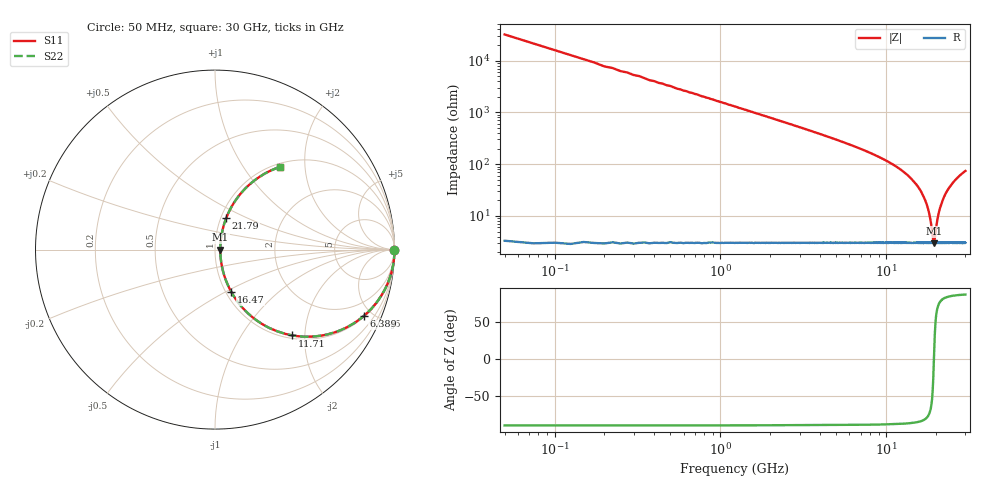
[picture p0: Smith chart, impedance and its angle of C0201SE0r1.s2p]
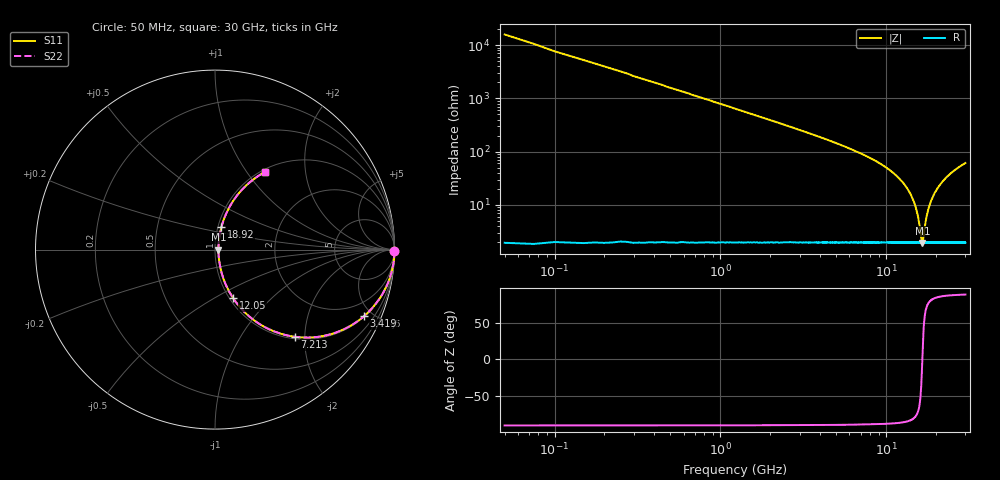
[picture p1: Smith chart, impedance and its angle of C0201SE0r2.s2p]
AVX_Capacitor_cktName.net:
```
define AVX_C1005(Pin1 Pin2 )
parameters PartNumber=0
#uselib "ckt" , "DataFileList"
DataFileList:DataFileList1 _List=list( \ 
"C1005SE0r1.s2p", \
"C1005SE0r2.s2p", \
"C1005SE0r3.s2p", \
"C1005SE0r4.s2p", \
"C1005SE0r5.s2p", \
"C1005SE0r6.s2p", \
"C1005SE0r7.s2p", \
"C1005SE0r8.s2p", \
"C1005SE0r9.s2p", \
"C1005SE1r0.s2p", \
"C1005SE1r2.s2p", \
"C1005SE1r5.s2p", \
"C1005SE1r8.s2p", \
"C1005SE2r1.s2p", \
"C1005SE2r2.s2p", \
"C1005SE2r4.s2p") Index=PartNumber+1
#uselib "ckt" , "S2P"
S2P:SNP1  Pin1 Pin2 0 File=DataFileList1.FileName Type="touchstone" InterpMode="linear" InterpDom="" ExtrapMode="constant" Temp=27.0 CheckPassivity=0 
end AVX_C1005

define AVX_C0201(Pin1 Pin2 )
parameters PartNumber=0
#uselib "ckt" , "DataFileList"
DataFileList:DataFileList1 _List=list( \ 
"C0201SEr05.s2p", \
"C0201SE0r1.s2p", \
"C0201SEr15.s2p", \
"C0201SE0r2.s2p", \
"C0201SEr25.s2p", \
"C0201SE0r3.s2p", \
"C0201SEr35.s2p", \
"C0201SE0r4.s2p", \
"C0201SEr45.s2p", \
"C0201SE0r5.s2p", \
"C0201SEr55.s2p", \
"C0201SE0r6.s2p", \
"C0201SEr65.s2p", \
"C0201SE0r7.s2p", \
"C0201SEr75.s2p", \
"C0201SE0r8.s2p", \
"C0201SEr85.s2p", \
"C0201SE0r9.s2p", \
"C0201SEr95.s2p", \
"C0201SE1r0.s2p", \
"C0201SEA05.s2p", \
"C0201SE1r1.s2p", \
"C0201SEA15.s2p", \
"C0201SE1r2.s2p", \
"C0201SEA25.s2p", \
"C0201SE1r3.s2p", \
"C0201SEA35.s2p", \
"C0201SE1r4.s2p", \
"C0201SEA45.s2p", \
"C0201SE1r5.s2p", \
"C0201SEA55.s2p", \
"C0201SE1r6.s2p", \
"C0201SEA65.s2p", \
"C0201SE1r7.s2p", \
"C0201SEA75.s2p", \
"C0201SE1r8.s2p", \
"C0201SEA85.s2p", \
"C0201SE1r9.s2p", \
"C0201SEA95.s2p", \
"C0201SE2r0.s2p", \
"C0201SE2r1.s2p", \
"C0201SE2r2.s2p", \
"C0201SE2r3.s2p", \
"C0201SE2r4.s2p", \
"C0201SE2r5.s2p", \
"C0201SE2r6.s2p", \
"C0201SE2r7.s2p", \
"C0201SE2r8.s2p", \
"C0201SE2r9.s2p", \
"C0201SE3r0.s2p", \
"C0201SE3r1.s2p", \
"C0201SE3r2.s2p", \
"C0201SE3r3.s2p", \
"C0201SE3r4.s2p", \
"C0201SE3r5.s2p", \
"C0201SE3r6.s2p", \
"C0201SE3r7.s2p", \
"C0201SE3r8.s2p", \
"C0201SE3r9.s2p", \
"C0201SE4r0.s2p", \
"C0201SE4r1.s2p", \
"C0201SE4r2.s2p", \
"C0201SE4r3.s2p", \
"C0201SE4r4.s2p", \
"C0201SE4r5.s2p", \
"C0201SE4r6.s2p", \
"C0201SE4r7.s2p", \
"C0201SE5r0.s2p", \
"C0201SE5r1.s2p", \
"C0201SE5r6.s2p", \
"C0201SE6r2.s2p", \
"C0201SE6r8.s2p", \
"C0201SE7r5.s2p", \
"C0201SE8r2.s2p", \
"C0201SE9r1.s2p", \
"C0201SE100.s2p", \
"C0201SE110.s2p", \
"C0201SE120.s2p", \
"C0201SE130.s2p", \
"C0201SE140.s2p", \
"C0201SE150.s2p", \
"C0201SE160.s2p", \
"C0201SE170.s2p", \
"C0201SE180.s2p", \
"C0201SE190.s2p", \
"C0201SE200.s2p", \
"C0201SE210.s2p", \
"C0201SE220.s2p") Index=PartNumber+1
#uselib "ckt" , "S2P"
S2P:SNP1  Pin1 Pin2 0 File=DataFileList1.FileName Type="touchstone" InterpMode="linear" InterpDom="" ExtrapMode="constant" Temp=27.0 CheckPassivity=0 
end AVX_C0201

define AVX_C0402(Pin1 Pin2 )
parameters PartNumber=1
#uselib "ckt" , "DataFileList"
DataFileList:DataFileList1 _List=list( \ 
"C0402SEr05.s2p", \
"C0402SE0r1.s2p", \
"C0402SEr15.s2p", \
"C0402SE0r2.s2p", \
"C0402SEr25.s2p", \
"C0402SE0r3.s2p", \
"C0402SEr35.s2p", \
"C0402SE0r4.s2p", \
"C0402SEr45.s2p", \
"C0402SE0r5.s2p", \
"C0402SEr55.s2p", \
"C0402SE0r6.s2p", \
"C0402SEr65.s2p", \
"C0402SE0r7.s2p", \
"C0402SEr75.s2p", \
"C0402SE0r8.s2p", \
"C0402SEr85.s2p", \
"C0402SE0r9.s2p", \
"C0402SEr95.s2p", \
"C0402SE1r0.s2p", \
"C0402SEA05.s2p", \
"C0402SE1r1.s2p", \
"C0402SEA15.s2p", \
"C0402SE1r2.s2p", \
"C0402SEA25.s2p", \
"C0402SE1r3.s2p", \
"C0402SEA35.s2p", \
"C0402SE1r4.s2p", \
"C0402SEA45.s2p", \
"C0402SE1r5.s2p", \
"C0402SEA55.s2p", \
"C0402SE1r6.s2p", \
"C0402SEA65.s2p", \
"C0402SE1r7.s2p", \
"C0402SEA75.s2p", \
"C0402SE1r8.s2p", \
"C0402SEA85.s2p", \
"C0402SE1r9.s2p", \
"C0402SEA95.s2p", \
"C0402SE2r0.s2p", \
"C0402SE2r1.s2p", \
"C0402SE2r2.s2p", \
"C0402SE2r3.s2p", \
"C0402SE2r4.s2p", \
"C0402SE2r5.s2p", \
"C0402SE2r6.s2p", \
"C0402SE2r7.s2p", \
"C0402SE2r8.s2p", \
"C0402SE2r9.s2p", \
"C0402SE3r0.s2p", \
"C0402SE3r1.s2p", \
"C0402SE3r2.s2p", \
"C0402SE3r3.s2p", \
"C0402SE3r4.s2p", \
"C0402SE3r5.s2p", \
"C0402SE3r6.s2p", \
"C0402SE3r7.s2p", \
"C0402SE3r8.s2p", \
"C0402SE3r9.s2p", \
"C0402SE4r0.s2p", \
"C0402SE4r1.s2p", \
"C0402SE4r2.s2p", \
"C0402SE4r3.s2p", \
"C0402SE4r4.s2p", \
"C0402SE4r5.s2p", \
"C0402SE4r6.s2p", \
"C0402SE4r7.s2p", \
"C0402SE5r1.s2p", \
"C0402SE5r6.s2p", \
"C0402SE6r2.s2p", \
"C0402SE6r8.s2p", \
"C0402SE7r5.s2p", \
"C0402SE8r2.s2p", \
"C0402SE9r1.s2p", \
"C0402SE100.s2p", \
"C0402SE110.s2p", \
"C0402SE120.s2p", \
"C0402SE130.s2p", \
"C0402SE140.s2p", \
"C0402SE150.s2p", \
"C0402SE160.s2p", \
"C0402SE170.s2p", \
"C0402SE180.s2p", \
"C0402SE190.s2p", \
"C0402SE200.s2p", \
"C0402SE210.s2p", \
"C0402SE220.s2p", \
"C0402SE240.s2p", \
"C0402SE270.s2p", \
"C0402SE300.s2p", \
"C0402SE330.s2p", \
"C0402SE360.s2p", \
"C0402SE390.s2p", \
"C0402SE470.s2p", \
"C0402SE560.s2p", \
"C0402SE680.s2p") Index=PartNumber+1
#uselib "ckt" , "S2P"
S2P:SNP1  Pin1 Pin2 0 File=DataFileList1.FileName Type="touchstone" InterpMode="linear" InterpDom="" ExtrapMode="constant" Temp=27.0 CheckPassivity=0 
end AVX_C0402

define AVX_C0603(Pin1 Pin2 )
parameters PartNumber=1 
#uselib "ckt" , "DataFileList"
DataFileList:DataFileList1 _List=list( \ 
"C0603SEr05.s2p", \
"C0603SE0r1.s2p", \
"C0603SEr15.s2p", \
"C0603SE0r2.s2p", \
"C0603SEr25.s2p", \
"C0603SE0r3.s2p", \
"C0603SEr35.s2p", \
"C0603SE0r4.s2p", \
"C0603SEr45.s2p", \
"C0603SE0r5.s2p", \
"C0603SEr55.s2p", \
"C0603SE0r6.s2p", \
"C0603SEr65.s2p", \
"C0603SE0r7.s2p", \
"C0603SEr75.s2p", \
"C0603SE0r8.s2p", \
"C0603SEr85.s2p", \
"C0603SE0r9.s2p", \
"C0603SEr95.s2p", \
"C0603SE1r0.s2p", \
"C0603SEA05.s2p", \
"C0603SE1r1.s2p", \
"C0603SEA15.s2p", \
"C0603SE1r2.s2p", \
"C0603SEA25.s2p", \
"C0603SE1r3.s2p", \
"C0603SEA35.s2p", \
"C0603SE1r4.s2p", \
"C0603SEA45.s2p", \
"C0603SE1r5.s2p", \
"C0603SEA55.s2p", \
"C0603SE1r6.s2p", \
"C0603SEA65.s2p", \
"C0603SE1r7.s2p", \
"C0603SEA75.s2p", \
"C0603SE1r8.s2p", \
"C0603SEA85.s2p", \
"C0603SE1r9.s2p", \
"C0603SEA95.s2p", \
"C0603SE2r0.s2p", \
"C0603SE2r1.s2p", \
"C0603SE2r2.s2p", \
"C0603SE2r3.s2p", \
"C0603SE2r4.s2p", \
"C0603SE2r5.s2p", \
"C0603SE2r6.s2p", \
"C0603SE2r7.s2p", \
"C0603SE2r8.s2p", \
"C0603SE2r9.s2p", \
"C0603SE3r0.s2p", \
"C0603SE3r1.s2p", \
"C0603SE3r2.s2p", \
"C0603SE3r3.s2p", \
"C0603SE3r4.s2p", \
"C0603SE3r5.s2p", \
"C0603SE3r6.s2p", \
"C0603SE3r7.s2p", \
"C0603SE3r8.s2p", \
"C0603SE3r9.s2p", \
"C0603SE4r0.s2p", \
"C0603SE4r1.s2p", \
"C0603SE4r2.s2p", \
"C0603SE4r3.s2p", \
"C0603SE4r4.s2p", \
"C0603SE4r5.s2p", \
"C0603SE4r6.s2p", \
"C0603SE4r7.s2p", \
"C0603SE5r1.s2p", \
"C0603SE5r6.s2p", \
"C0603SE6r2.s2p", \
"C0603SE6r8.s2p", \
"C0603SE7r5.s2p", \
"C0603SE8r2.s2p", \
"C0603SE9r1.s2p", \
"C0603SE100.s2p", \
"C0603SE110.s2p", \
"C0603SE120.s2p", \
"C0603SE130.s2p", \
"C0603SE140.s2p", \
"C0603SE150.s2p", \
"C0603SE160.s2p", \
"C0603SE170.s2p", \
"C0603SE180.s2p", \
"C0603SE190.s2p", \
"C0603SE200.s2p", \
"C0603SE220.s2p", \
"C0603SE240.s2p", \
"C0603SE270.s2p", \
"C0603SE300.s2p", \
"C0603SE330.s2p", \
"C0603SE360.s2p", \
"C0603SE390.s2p", \
"C0603SE470.s2p") Index=PartNumber+1
#uselib "ckt" , "S2P"
S2P:SNP1  Pin1 Pin2 0 File=DataFileList1.FileName Type="touchstone" InterpMode="linear" InterpDom="" ExtrapMode="constant" Temp=27.0 CheckPassivity=0 
end AVX_C0603

define AVX_C0805(Pin1 Pin2 )
parameters PartNumber=1
#uselib "ckt" , "DataFileList"
DataFileList:DataFileList1 _List=list( \ 
"C0805SE0r1.s2p", \
"C0805SE0r2.s2p", \
"C0805SE0r3.s2p", \
"C0805SE0r4.s2p", \
"C0805SE0r5.s2p", \
"C0805SE0r6.s2p", \
"C0805SE0r7.s2p", \
"C0805SE0r8.s2p", \
"C0805SE0r9.s2p", \
"C0805SE1r0.s2p", \
"C0805SE1r1.s2p", \
"C0805SE1r2.s2p", \
"C0805SE1r3.s2p", \
"C0805SE1r4.s2p", \
"C0805SE1r5.s2p", \
"C0805SE1r6.s2p", \
"C0805SE1r7.s2p", \
"C0805SE1r8.s2p", \
"C0805SE1r9.s2p", \
"C0805SE2r0.s2p", \
"C0805SE2r1.s2p", \
"C0805SE2r2.s2p", \
"C0805SE2r3.s2p", \
"C0805SE2r4.s2p", \
"C0805SE2r5.s2p", \
"C0805SE2r6.s2p", \
"C0805SE2r7.s2p", \
"C0805SE2r8.s2p", \
"C0805SE2r9.s2p", \
"C0805SE3r0.s2p", \
"C0805SE3r1.s2p", \
"C0805SE3r2.s2p", \
"C0805SE3r3.s2p", \
"C0805SE3r4.s2p", \
"C0805SE3r5.s2p", \
"C0805SE3r6.s2p", \
"C0805SE3r7.s2p", \
"C0805SE3r8.s2p", \
"C0805SE3r9.s2p", \
"C0805SE4r0.s2p", \
"C0805SE4r1.s2p", \
"C0805SE4r2.s2p", \
"C0805SE4r3.s2p", \
"C0805SE4r4.s2p", \
"C0805SE4r5.s2p", \
"C0805SE4r6.s2p", \
"C0805SE4r7.s2p", \
"C0805SE5r1.s2p", \
"C0805SE5r6.s2p", \
"C0805SE6r2.s2p", \
"C0805SE6r8.s2p", \
"C0805SE7r5.s2p", \
"C0805SE8r2.s2p", \
"C0805SE9r1.s2p", \
"C0805SE100.s2p", \
"C0805SE110.s2p", \
"C0805SE120.s2p", \
"C0805SE130.s2p", \
"C0805SE140.s2p", \
"C0805SE150.s2p", \
"C0805SE160.s2p", \
"C0805SE170.s2p", \
"C0805SE180.s2p", \
"C0805SE190.s2p", \
"C0805SE200.s2p", \
"C0805SE210.s2p", \
"C0805SE220.s2p", \
"C0805SE240.s2p", \
"C0805SE270.s2p", \
"C0805SE300.s2p", \
"C0805SE330.s2p", \
"C0805SE390.s2p", \
"C0805SE470.s2p", \
"C0805SE560.s2p", \
"C0805SE680.s2p") Index=PartNumber+1
#uselib "ckt" , "S2P"
S2P:SNP1  Pin1 Pin2 0 File=DataFileList1.FileName Type="touchstone" InterpMode="linear" InterpDom="" ExtrapMode="constant" Temp=27.0 CheckPassivity=0 
end AVX_C0805

define AVX_C1210(Pin1 Pin2 )
parameters PartNumber=1
#uselib "ckt" , "DataFileList"
DataFileList:DataFileList1 _List=list( \ 
"C1210SE0r1.s2p", \
"C1210SE0r2.s2p", \
"C1210SE0r3.s2p", \
"C1210SE0r4.s2p", \
"C1210SE0r5.s2p", \
"C1210SE0r6.s2p", \
"C1210SE0r7.s2p", \
"C1210SE0r8.s2p", \
"C1210SE0r9.s2p", \
"C1210SE1r0.s2p", \
"C1210SE1r1.s2p", \
"C1210SE1r2.s2p", \
"C1210SE1r3.s2p", \
"C1210SE1r4.s2p", \
"C1210SE1r5.s2p", \
"C1210SE1r6.s2p", \
"C1210SE1r7.s2p", \
"C1210SE1r8.s2p", \
"C1210SE1r9.s2p", \
"C1210SE2r0.s2p", \
"C1210SE2r1.s2p", \
"C1210SE2r2.s2p", \
"C1210SE2r3.s2p", \
"C1210SE2r4.s2p", \
"C1210SE2r5.s2p", \
"C1210SE2r6.s2p", \
"C1210SE2r7.s2p", \
"C1210SE2r8.s2p", \
"C1210SE2r9.s2p", \
"C1210SE3r0.s2p", \
"C1210SE3r1.s2p", \
"C1210SE3r2.s2p", \
"C1210SE3r3.s2p", \
"C1210SE3r4.s2p", \
"C1210SE3r5.s2p", \
"C1210SE3r6.s2p", \
"C1210SE3r7.s2p", \
"C1210SE3r8.s2p", \
"C1210SE3r9.s2p", \
"C1210SE4r0.s2p", \
"C1210SE4r1.s2p", \
"C1210SE4r2.s2p", \
"C1210SE4r3.s2p", \
"C1210SE4r4.s2p", \
"C1210SE4r5.s2p", \
"C1210SE4r6.s2p", \
"C1210SE4r7.s2p", \
"C1210SE5r1.s2p", \
"C1210SE5r6.s2p", \
"C1210SE6r2.s2p", \
"C1210SE6r8.s2p", \
"C1210SE7r5.s2p", \
"C1210SE8r2.s2p", \
"C1210SE9r1.s2p", \
"C1210SE100.s2p", \
"C1210SE110.s2p", \
"C1210SE120.s2p", \
"C1210SE130.s2p", \
"C1210SE140.s2p", \
"C1210SE150.s2p", \
"C1210SE160.s2p", \
"C1210SE170.s2p", \
"C1210SE180.s2p", \
"C1210SE190.s2p", \
"C1210SE200.s2p", \
"C1210SE210.s2p", \
"C1210SE220.s2p", \
"C1210SE240.s2p", \
"C1210SE270.s2p", \
"C1210SE300.s2p", \
"C1210SE330.s2p", \
"C1210SE360.s2p", \
"C1210SE390.s2p", \
"C1210SE470.s2p") Index=PartNumber+1
#uselib "ckt" , "S2P"
S2P:SNP1  Pin1 Pin2 0 File=DataFileList1.FileName Type="touchstone" InterpMode="linear" InterpDom="" ExtrapMode="constant" Temp=27.0 CheckPassivity=0 
end AVX_C1210
```
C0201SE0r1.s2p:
# MHZ S MA R 50
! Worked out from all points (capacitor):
!   1201 points, 50 MHz to 30 GHz, reference 50 ohm
!   read as one part in series: C = 101 fF near 199.8 MHz
!   lowest |Z| = 2.99 ohm at 19.37 GHz (marker M1)
!   series resonance near 19.38 GHz, so ESL is about 670 pH
!   S11 on the Smith chart (normalised r, x): 50 MHz: open; 6.389 GHz: 1.06, -4.44; 11.71 GHz: 1.06, -1.73; 16.47 GHz: 1.06, -0.54; 21.79 GHz: 1.06, +0.39; 30 GHz: 1.06, +1.48
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50  1 -0.2  0.003142 89.8  0.003142 89.8  1 -0.2
499.25  0.999 -1.8  0.031 88.1  0.031 88.1  0.999 -1.8
1447.667  0.996 -5.2  0.091 84.6  0.091 84.6  0.996 -5.2
6389.417  0.907 -24.1  0.409 65.1  0.409 65.1  0.907 -24.1
11705.54  0.643 -48.0  0.744 40.0  0.744 40.0  0.643 -48.0
15025  0.38 -63.6  0.898 22.3  0.898 22.3  0.38 -63.6
16472.58  0.253 -69.0  0.939 14.6  0.939 14.6  0.253 -69.0
18020  0.119 -69.1  0.964 6.6  0.964 6.6  0.119 -69.1
19367.75  0.029 -1.9  0.971 0.1  0.971 0.1  0.029 -1.9
21788.71  0.186 70.5  0.954 -10.6  0.954 -10.6  0.186 70.5
30000  0.584 51.9  0.788 -35.7  0.788 -35.7  0.584 51.9
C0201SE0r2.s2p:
# MHZ S MA R 50
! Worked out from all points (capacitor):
!   1201 points, 50 MHz to 30 GHz, reference 50 ohm
!   read as one part in series: C = 200 fF near 199.8 MHz
!   lowest |Z| = 1.94 ohm at 16.5 GHz (marker M1)
!   series resonance near 16.49 GHz, so ESL is about 470 pH
!   S11 on the Smith chart (normalised r, x): 50 MHz: open; 3.419 GHz: 1.04, -4.45; 7.213 GHz: 1.04, -1.79; 12.05 GHz: 1.04, -0.61; 18.92 GHz: 1.04, +0.27; 30 GHz: 1.04, +1.22
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50  1 -0.4  0.006283 89.6  0.006283 89.6  1 -0.4
374.458  0.999 -2.7  0.047 87.3  0.047 87.3  0.999 -2.7
898.583  0.993 -6.5  0.113 83.4  0.113 83.4  0.993 -6.5
3419.375  0.909 -24.1  0.408 65.4  0.408 65.4  0.909 -24.1
7213.042  0.659 -47.5  0.738 41.2  0.738 41.2  0.659 -47.5
12054.96  0.289 -69.6  0.939 16.8  0.939 16.8  0.289 -69.6
15025  0.09 -72.6  0.977 5.0  0.977 5.0  0.09 -72.6
16497.54  0.019 0.9  0.981 -0.0  0.981 -0.0  0.019 0.9
18918.5  0.131 74.1  0.972 -7.4  0.972 -7.4  0.131 74.1
22836.96  0.3 69.1  0.936 -17.4  0.936 -17.4  0.3 69.1
30000  0.515 57.2  0.841 -31.0  0.841 -31.0  0.515 57.2
